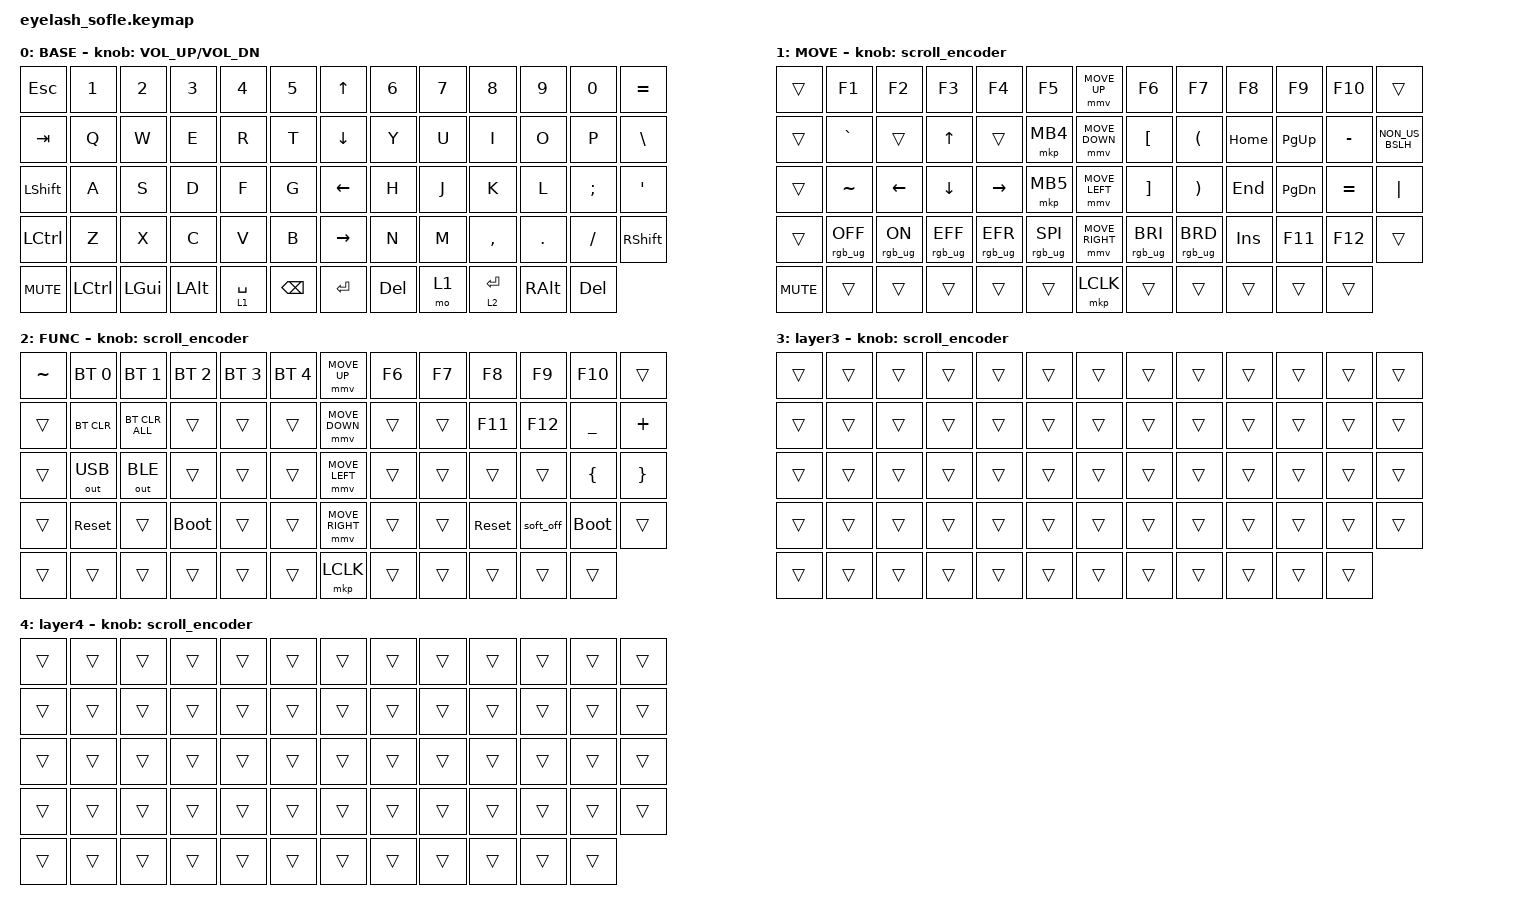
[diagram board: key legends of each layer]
#define ZMK_POINTING_DEFAULT_MOVE_VAL 1200  // 600
#define ZMK_POINTING_DEFAULT_SCRL_VAL 25   // 10

#include <input/processors.dtsi>
#include <zephyr/dt-bindings/input/input-event-codes.h>
#include <behaviors.dtsi>
#include <dt-bindings/zmk/bt.h>
#include <dt-bindings/zmk/keys.h>
#include <dt-bindings/zmk/outputs.h>
#include <dt-bindings/zmk/pointing.h>
#include <dt-bindings/zmk/rgb.h>

&mmv_input_listener { input-processors = <&zip_xy_scaler 2 1>; };

&msc_input_listener { input-processors = <&zip_scroll_scaler 2 1>; };

&msc {
    acceleration-exponent = <1>;      // 0
    time-to-max-speed-ms = <100>;       // 300
    delay-ms = <0>;                   // 0
};

&mmv {
    time-to-max-speed-ms = <500>;
    acceleration-exponent = <1>;
    trigger-period-ms = <16>;
};

&soft_off { hold-time-ms = <2000>; };

/ {
    scroll_encoder: scroll_encoder {
        compatible = "zmk,behavior-sensor-rotate";
        #sensor-binding-cells = <0>;
        bindings = <&msc SCRL_DOWN>, <&msc SCRL_UP>;

        tap-ms = <100>;
    };

    behaviors {
    };

    combos {
        compatible = "zmk,combos";

        softoff {
            bindings = <&soft_off>;
            key-positions = <14 28 40>;
        };
    };

    keymap {
        compatible = "zmk,keymap";

        layer0 {
            bindings = <
&kp ESC     &kp N1     &kp N2        &kp N3        &kp N4          &kp N5           &kp UP_ARROW     &kp N6         &kp N7         &kp N8      &kp N9           &kp N0      &kp EQUAL
&kp TAB     &kp Q      &kp W         &kp E         &kp R           &kp T            &kp DOWN_ARROW   &kp Y          &kp U          &kp I       &kp O            &kp P       &kp BSLH
&kp LSHFT   &kp A      &kp S         &kp D         &kp F           &kp G            &kp LEFT_ARROW   &kp H          &kp J          &kp K       &kp L            &kp SEMI    &kp APOS
&kp LCTRL   &kp Z      &kp X         &kp C         &kp V           &kp B            &kp RIGHT_ARROW  &kp N          &kp M          &kp COMMA   &kp DOT          &kp FSLH    &kp RSHFT
&kp C_MUTE  &kp LCTRL  &kp LEFT_GUI  &kp LEFT_ALT  &lt 1 SPACE     &kp BACKSPACE    &kp ENTER        &kp DELETE     &mo 1          &lt 2 ENTER &kp RIGHT_ALT    &kp DELETE
            >;

            sensor-bindings = <&inc_dec_kp C_VOLUME_UP C_VOL_DN>;
            display-name = "BASE";
        };

        layer_1 {
            bindings = <
&trans      &kp F1           &kp F2          &kp F3           &kp F4           &kp F5             &mmv MOVE_UP     &kp F6               &kp F7           &kp F8      &kp F9     &kp F10           &trans
&trans      &kp GRAVE        &trans          &kp UP           &trans           &mkp MB4           &mmv MOVE_DOWN   &kp LEFT_BRACKET     &kp LPAR         &kp HOME    &kp PG_UP  &kp MINUS         &kp NON_US_BSLH
&trans      &kp TILDE        &kp LEFT        &kp DOWN         &kp RIGHT        &mkp MB5           &mmv MOVE_LEFT   &kp RIGHT_BRACKET    &kp RPAR         &kp END     &kp PG_DN  &kp EQUAL         &kp PIPE
&trans      &rgb_ug RGB_OFF  &rgb_ug RGB_ON  &rgb_ug RGB_EFF  &rgb_ug RGB_EFR  &rgb_ug RGB_SPI    &mmv MOVE_RIGHT  &rgb_ug RGB_BRI      &rgb_ug RGB_BRD  &kp INSERT  &kp F11    &kp F12           &trans
&kp C_MUTE  &trans           &trans          &trans           &trans           &trans             &mkp LCLK        &trans               &trans           &trans      &trans     &trans
            >;

            display-name = "MOVE";
            sensor-bindings = <&scroll_encoder>;
        };

        layer_2 {
            bindings = <
&kp TILDE  &bt BT_SEL 0  &bt BT_SEL 1    &bt BT_SEL 2  &bt BT_SEL 3  &bt BT_SEL 4    &mmv MOVE_UP     &kp F6  &kp F7  &kp F8      &kp F9     &kp F10      &trans
&trans     &bt BT_CLR    &bt BT_CLR_ALL  &trans        &trans        &trans          &mmv MOVE_DOWN   &trans  &trans  &kp F11     &kp F12    &kp UNDER    &kp PLUS
&trans     &out OUT_USB  &out OUT_BLE    &trans        &trans        &trans          &mmv MOVE_LEFT   &trans  &trans  &trans      &trans     &kp LBRC     &kp RBRC
&trans     &sys_reset    &trans          &bootloader   &trans        &trans          &mmv MOVE_RIGHT  &trans  &trans  &sys_reset  &soft_off  &bootloader  &trans
&trans     &trans        &trans          &trans        &trans        &trans          &mkp LCLK        &trans  &trans  &trans      &trans     &trans
            >;

            display-name = "FUNC";
            sensor-bindings = <&scroll_encoder>;
        };

        layer_3 {
            bindings = <
&trans  &trans  &trans  &trans  &trans  &trans    &trans  &trans  &trans  &trans  &trans  &trans  &trans
&trans  &trans  &trans  &trans  &trans  &trans    &trans  &trans  &trans  &trans  &trans  &trans  &trans
&trans  &trans  &trans  &trans  &trans  &trans    &trans  &trans  &trans  &trans  &trans  &trans  &trans
&trans  &trans  &trans  &trans  &trans  &trans    &trans  &trans  &trans  &trans  &trans  &trans  &trans
&trans  &trans  &trans  &trans  &trans  &trans    &trans  &trans  &trans  &trans  &trans  &trans
            >;

            display-name = "layer3";
            sensor-bindings = <&scroll_encoder>;
        };

        layer_4 {
            bindings = <
&trans  &trans  &trans  &trans  &trans  &trans    &trans  &trans  &trans  &trans  &trans  &trans  &trans
&trans  &trans  &trans  &trans  &trans  &trans    &trans  &trans  &trans  &trans  &trans  &trans  &trans
&trans  &trans  &trans  &trans  &trans  &trans    &trans  &trans  &trans  &trans  &trans  &trans  &trans
&trans  &trans  &trans  &trans  &trans  &trans    &trans  &trans  &trans  &trans  &trans  &trans  &trans
&trans  &trans  &trans  &trans  &trans  &trans    &trans  &trans  &trans  &trans  &trans  &trans
            >;
         display-name = "layer4";
            sensor-bindings = <&scroll_encoder>;
        };
    };
};
